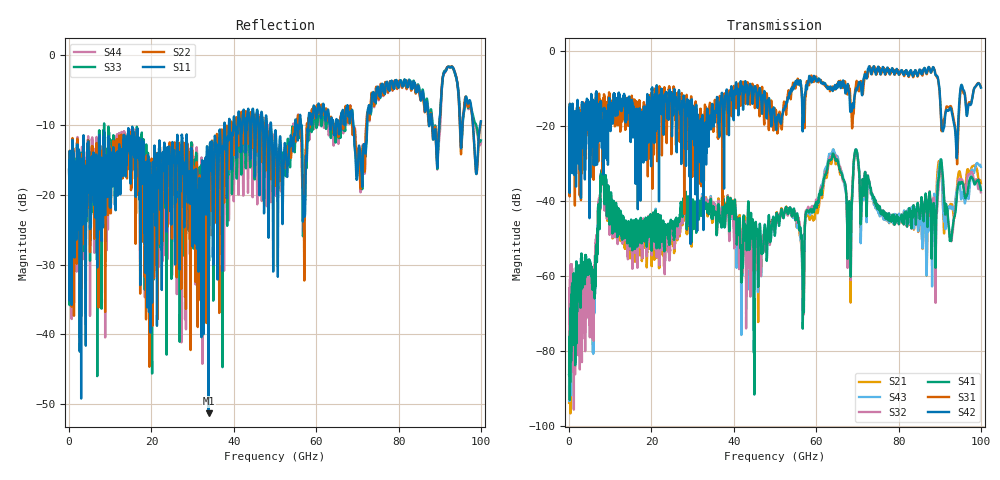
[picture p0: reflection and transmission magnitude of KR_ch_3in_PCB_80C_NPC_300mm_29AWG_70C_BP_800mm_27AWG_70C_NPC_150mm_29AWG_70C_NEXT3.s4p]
# Hz S RI R 45
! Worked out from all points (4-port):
!   4000 points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, 25 MHz to 100 GHz, reference 45 ohm
!   strongest paths, dB at 25 MHz, 25.02 GHz, 50.02 GHz, 75.03 GHz, 100 GHz:
!     S42: -20.7, -20.7, -18.8, -4.2, -9.7
!     S31: -20.7, -12.4, -15.5, -4.9, -9.6
!     S41: -86.4, -46.7, -48.9, -41.4, -37.0
!     S32: -85.8, -48.4, -47.1, -41.4, -37.6
!     S43: -89.5, -48.5, -46.0, -42.3, -30.9
!     S21: -93.8, -51.1, -46.9, -42.2, -35.2
!   lowest |S11| = -51.3 dB at 33.88 GHz (marker M1), VSWR 1.01, Z = 44.8 - j0.135 ohm
!   |S11| at or under -10 dB: start of sweep to 37.71 GHz; 49.06 GHz to 54.9 GHz (5.835 GHz wide, 11.2 % of centre); 68.98 GHz to 72.37 GHz (3.385 GHz wide, 4.79 % of centre)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
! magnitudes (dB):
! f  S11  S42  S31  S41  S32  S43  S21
! 25 MHz  -16.4  -20.7  -20.7  -86.4  -85.8  -89.5  -93.8
! 5.85 GHz  -15.0  -13.0  -15.1  -60.5  -69.1  -71.9  -74.5
! 8.1 GHz  -14.8  -19.0  -22.8  -33.6  -33.7  -33.2  -34.1
! 33.88 GHz  -51.3  -24.2  -22.0  -41.2  -40.4  -41.7  -41.5
! 56.65 GHz  -15.7  -18.0  -13.2  -56.1  -55.8  -58.9  -57.2
! 63.88 GHz  -9.3  -10.0  -9.6  -28.2  -28.2  -27.1  -28.9
! 100 GHz  -9.5  -9.7  -9.6  -37.0  -37.6  -30.9  -35.2
